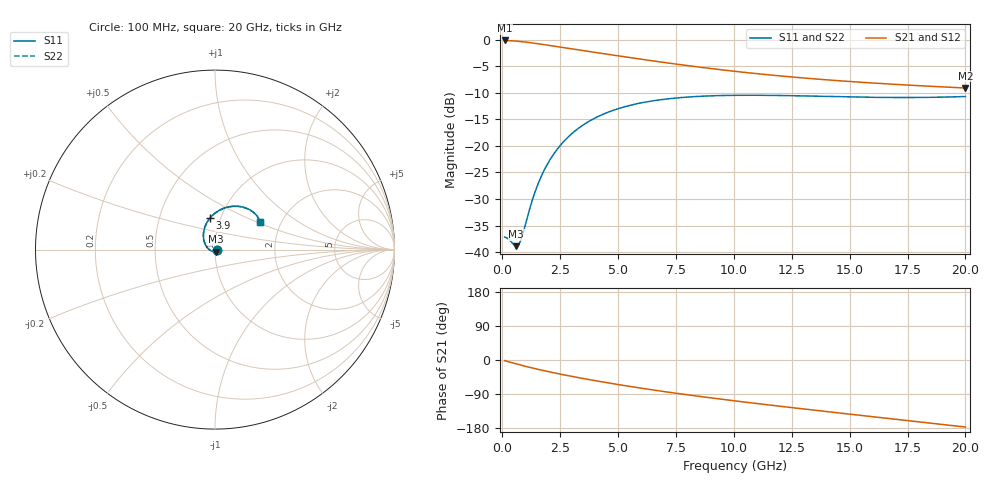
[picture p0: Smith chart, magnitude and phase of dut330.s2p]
! Touchstone file exported from HFSS 2024.1.0
!  File:  C:/UserFiles/LocalFiles/RDL_TSV_Batchsim/temp_RDL_TSV_330_1779631878.aedt
!  Generated:  10:28:53 PM May 24, 2026
!  Design:  RDL_TSV
!  Project:  temp_RDL_TSV_330_1779631878
!  Setup:  Setup1
!  Solution:  Sweep
! Variables:
!  dtsv = 11um
!  hbump = 3um
!  htsv = 93.72um
!  ldown = 442.29um
!  lrdl = 208.98um
!  p = 40
!  p1 = 54.79um
!  rhole = 10um
!  subl = 2162.79um
!  t = 450um
!  tdown = 2.96um
!  trdl = 2.84um
!  viad = 10um
!  wdown = 18.99um
!  wrdl = 21.4um
!  xbump = 18um
# GHz S MA R 50.000000
! Terminal data exported
! Port[1] = TM1_1_T1
! Port[2] = TM1_4_T1
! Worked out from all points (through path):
!   200 points, 100 MHz to 20 GHz, reference 50 ohm
!   highest |S21| = -0.13 dB at 100 MHz (marker M1); lowest = -9.1 dB at 20 GHz (marker M2)
!   group delay of S21, straight-line fit = 22.9 ps
!   lowest |S11| = -38.9 dB at 600 MHz (marker M3), VSWR 1.02, Z = 50.3 - j1.1 ohm
!   |S11| at or under -10 dB: start of sweep to end of sweep
!   |S22| runs from -38.9 to -10.5 dB; largest |S21 - S12| = 1e-14
!   S11 on the Smith chart (normalised r, x): 100 MHz: 1.03, -0.00; 3.9 GHz: 0.89, +0.32; 20 GHz: 1.56, +0.52
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0.1  0.01387 -8.4  0.9855 -1.7  0.9855 -1.7  0.01387 -8.4
! Gamma 0 0 0 0
! Port Impedance 50 0 50 0
0.3  0.0131 -28.3  0.9818 -5.2  0.9818 -5.2  0.01311 -28.3
0.6  0.01137 -75.0  0.9717 -10.2  0.9717 -10.2  0.01138 -74.9
0.7  0.01165 -95.7  0.9673 -11.8  0.9673 -11.8  0.01166 -95.5
0.8  0.01288 -116.2  0.9625 -13.4  0.9625 -13.4  0.01288 -116.0
1.2  0.02633 -170.4  0.94 -19.6  0.94 -19.6  0.02626 -170.3
1.4  0.03612 174.7  0.9273 -22.6  0.9273 -22.6  0.036 174.8
1.6  0.04697 163.3  0.914 -25.4  0.914 -25.4  0.04682 163.4
1.9  0.06445 149.9  0.8938 -29.5  0.8938 -29.5  0.06424 150.0
2.2  0.08262 139.1  0.8735 -33.4  0.8735 -33.4  0.08235 139.2
2.6  0.1069 127.2  0.8469 -38.4  0.8469 -38.4  0.1066 127.2
3  0.1305 117.2  0.8212 -43.2  0.8212 -43.2  0.13 117.2
3.5  0.158 106.5  0.7904 -48.9  0.7904 -48.9  0.1575 106.5
3.9  0.1782 99.0  0.7668 -53.3  0.7668 -53.3  0.1776 99.0
5.2  0.2311 79.7  0.6956 -66.7  0.6956 -66.7  0.2303 79.7
6.8  0.2718 62.8  0.6196 -81.7  0.6196 -81.7  0.2708 62.8
8.4  0.2924 50.8  0.5566 -95.1  0.5566 -95.1  0.2912 50.7
10.1  0.3 41.8  0.5029 -108.3  0.5029 -108.3  0.2987 41.7
11.7  0.2993 36.0  0.463 -120.0  0.463 -120.0  0.298 36.0
13.4  0.2946 32.2  0.4296 -131.9  0.4296 -131.9  0.2933 32.1
16.7  0.2861 29.9  0.3831 -154.4  0.3831 -154.4  0.2848 29.9
20  0.292 31.4  0.3513 -176.9  0.3513 -176.9  0.2908 31.4
